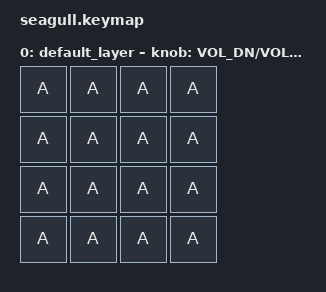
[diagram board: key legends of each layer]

#include <behaviors.dtsi>
#include <dt-bindings/zmk/keys.h>
#include <dt-bindings/zmk/bt.h>
#include <dt-bindings/zmk/ext_power.h>

/ {
    keymap {
        compatible = "zmk,keymap";

        default_layer {
            bindings = <
                &kp A &kp A &kp A &kp A
                &kp A &kp A &kp A &kp A
                &kp A &kp A &kp A &kp A
                &kp A &kp A &kp A &kp A
            >;
            sensor-bindings = <&inc_dec_kp C_VOL_DN C_VOL_UP &inc_dec_kp PG_DN PG_UP>;
        };
    };
};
